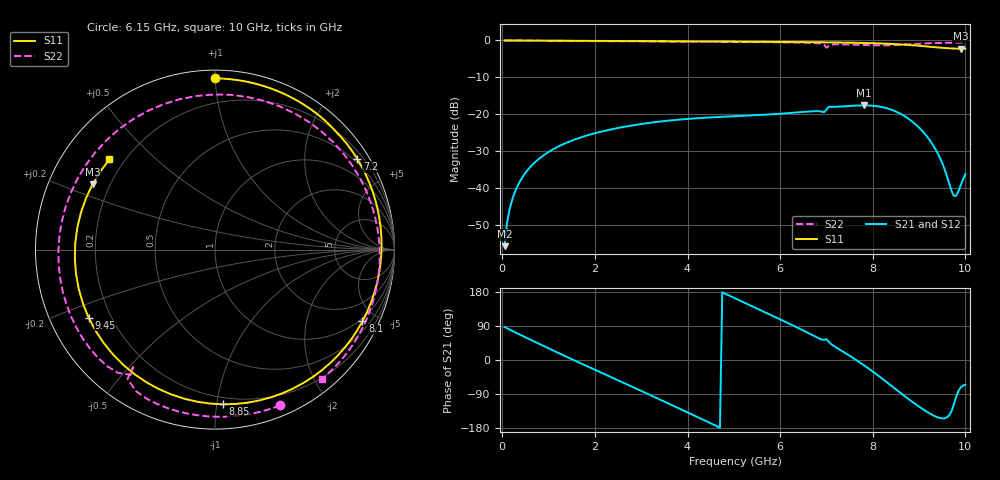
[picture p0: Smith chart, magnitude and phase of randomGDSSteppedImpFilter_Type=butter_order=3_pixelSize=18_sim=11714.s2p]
! freq	dB(S11)	phase(S11)	dB(S12)	phase(S12)
!  dB(S21)	phase(S21)	dB(S22)	phase(S22)
!S-par simulation data
#  GHz  S  DB  R 50
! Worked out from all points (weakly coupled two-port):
!   200 points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, 50 MHz to 10 GHz, reference 50 ohm
!   highest |S21| = -17.56 dB at 7.8 GHz (marker M1); lowest = -55.6 dB at 50 MHz (marker M2)
!   lowest |S11| = -2.2 dB at 9.9 GHz (marker M3), VSWR 7.81, Z = 6.79 + j12.3 ohm
!   |S11| at or under -10 dB: nowhere
!   |S22| runs from -2.0 to 0.0 dB; largest |S21 - S12| = 0
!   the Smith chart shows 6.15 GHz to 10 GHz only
!   S11 on the Smith chart (normalised r, x): 6.15 GHz: 0.05, +1.00; 7.2 GHz: 0.39, +3.39; 8.1 GHz: 0.86, -4.18; 8.85 GHz: 0.15, -1.04; 9.45 GHz: 0.12, -0.25; 10 GHz: 0.14, +0.36
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0.05  -0.00 -2.4  -55.64 86.9  -55.64 86.9  -0.00 -3.6
0.2  -0.01 -9.6  -43.64 77.7  -43.64 77.7  -0.02 -14.4
0.5  -0.03 -23.8  -35.80 59.9  -35.80 59.9  -0.05 -35.8
1.15  -0.07 -54.0  -29.06 22.1  -29.06 22.1  -0.11 -82.0
1.75  -0.11 -80.8  -26.00 -11.9  -26.00 -11.9  -0.16 -124.3
2.55  -0.16 -114.7  -23.55 -56.3  -23.55 -56.3  -0.22 178.6
3.4  -0.21 -149.4  -21.94 -104.1  -21.94 -104.1  -0.28 116.4
4.1  -0.25 -177.8  -21.13 -144.0  -21.13 -144.0  -0.33 65.4
4.6  -0.29 161.4  -20.74 -172.7  -20.74 -172.7  -0.35 30.5
5.05  -0.32 142.0  -20.47 161.6  -20.47 161.6  -0.38 0.8
5.55  -0.36 119.3  -20.16 133.1  -20.16 133.1  -0.43 -30.6
6.15  -0.41 90.1  -19.68 98.6  -19.68 98.6  -0.53 -67.3
6.7  -0.46 61.0  -19.15 65.5  -19.15 65.5  -0.68 -103.1
7.2  -0.54 32.5  -17.94 33.8  -17.94 33.8  -1.03 -137.2
7.8  -0.68 -5.2  -17.56 -13.1  -17.56 -13.1  -1.25 164.3
8.1  -0.78 -25.9  -17.79 -39.7  -17.79 -39.7  -1.33 128.6
8.35  -0.91 -44.6  -18.50 -63.2  -18.50 -63.2  -1.29 96.7
8.85  -1.28 -87.2  -21.91 -110.1  -21.91 -110.1  -0.98 36.8
9.45  -1.94 -151.7  -31.76 -153.1  -31.76 -153.1  -0.67 -16.6
9.75  -2.19 171.0  -42.02 -117.6  -42.02 -117.6  -0.60 -36.3
9.9  -2.24 152.0  -39.11 -72.1  -39.11 -72.1  -0.58 -44.9
10  -2.23 139.5  -36.15 -65.2  -36.15 -65.2  -0.58 -50.2
